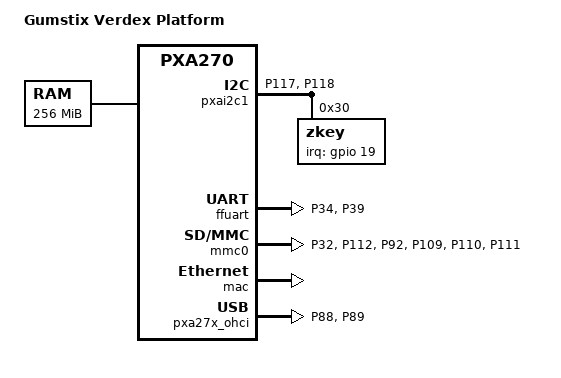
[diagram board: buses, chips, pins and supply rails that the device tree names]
/*
 * Copyright (C) 2016 Zilogic Systems - http://www.zilogic.com/
 *
 * This program is free software; you can redistribute it and/or modify
 * it under the terms of the GNU General Public License version 2 as
 * published by the Free Software Foundation.
 */
/dts-v1/;

#include "pxa27x.dtsi"
#include <dt-bindings/interrupt-controller/irq.h>

/ {
	model = "Gumstix Verdex Platform";
	compatible = "gumstix,verdex", "marvell,pxa270";

	memory {
		reg = <0xA0000000 0x10000000>;
	};

	display@0 {
		display-timings {
			native-mode = <&timing0>;
			timing0: 640x480 {
				clock-frequency = <20000000>;
				hactive = <640>;
				vactive = <480>;
				hfront-porch = <20>;
				hback-porch = <8>;
				hsync-len = <4>;
				vback-porch = <1>;
				vfront-porch = <10>;
				vsync-len = <3>;
				hsync-active = <1>;
				vsync-active = <1>;
			};
		};
			
		port {
			panel_in: endpoint {
				remote-endpoint = <&lcdc_out>;
			};
		};
	};

	pxabus {
		pxai2c1: i2c@40301680 {
			status = "okay";

			pinctrl-names = "default";
			pinctrl-0 = <&i2c_pins>;

			zkey@30 {
				compatible = "zkey";
				reg = <0x30>;
				interrupts-extended = <&gpio 19 IRQ_TYPE_EDGE_RISING>;
			};

		};

		ffuart: uart@40100000 {
			status = "okay";

			pinctrl-names = "default";
			pinctrl-0 = <&ffuart_pins>;
		};

		mmc0: mmc@41100000 {
			status = "okay";
			pinctrl-names = "default";
			pinctrl-0 = <&mmc_pins>;
		};

		lcd-controller@40500000 {
			compatible = "marvell,pxa270-lcdc";
			reg = <0x44000000 0x10000>;
			interrupts = <17>;
			clocks = <&clks CLK_LCD>;			
			status = "okay";

			port {
				lcdc_out: endpoint {
					remote-endpoint = <&panel_in>;
					bus-width = <16>;
				};
			};
		};

		mac: ethernet@04000300 {
			compatible = "smsc,lan91c94";
			reg = <0x04000300 0xffd00>;
			interrupts-extended = <&gpio 99 IRQ_TYPE_EDGE_RISING>;
		};

		pxa27x_ohci: usb@4c000000 {
			status = "okay";
			marvell,enable-port1;
			marvell,port-mode = <2>;

			pinctrl-names = "default";
			pinctrl-0 = <&usbh_pins>;
		};

		flash@00000000 {
                        compatible = "cfi-flash";
                        reg = <0x00000000 0x02000000>;
                        linux,mtd-name = "physmap-flash.0";
                        bank-width = <2>;
                        #address-cells = <1>;
                        #size-cells = <1>;

                        bootloader@0 {
                                label = "bootloader";
                                reg = <0x00000 0x40000>;
                        };

                        bootenv@80000 {
                                label = "bootenv";
                                reg = <0x80000 0x40000>;
                        };

                        kernel@60000 {
                                label = "kernel";
                                reg = <0xC0000 0x400000>;
                        };

                        rootfs@360000 {
                                label = "rootfs";
                                reg = <0x4C0000 0x1B40000>;
                        };
                };

		pinctrl: pinctrl@40e00000 {
			usbh_pins: usbh {
				mux_p88 {
					pins = "P88";
					function = "USBHPWR<1>";
				};

				mux_p89 {
					pins = "P89";
					function = "USBHPEN<1>";
				};
			};

			ffuart_pins: ff {
				mux_p19 {
					pins = "P34";
					function = "FFRXD";
				};

				mux_p37 {
					pins = "P39";
					function = "FFTXD";
				};
			};

			i2c_pins: i2c {
				mux_p117 {
					pins = "P117";
					function = "SCL";
				};

				mux_p118 {
					pins = "P118";
					function = "SDA";
				};
			};

			mmc_pins: mmc {
				mux_p32 {
					pins = "P32";
					function = "MMCLK";
				};

				mux_p112 {
					pins = "P112";
					function = "MMCMD";
				};

				mux_p92 {
					pins = "P92";
					function = "MMDAT<0>";
				};

				mux_p109 {
					pins = "P109";
					function = "MMDAT<1>";
				};

				mux_p110 {
					pins = "P110";
					function = "MMDAT<2>";
				};

				mux_p111 {
					pins = "P111";
					function = "MMDAT<3>";
				};
			};
		};
	};
};
